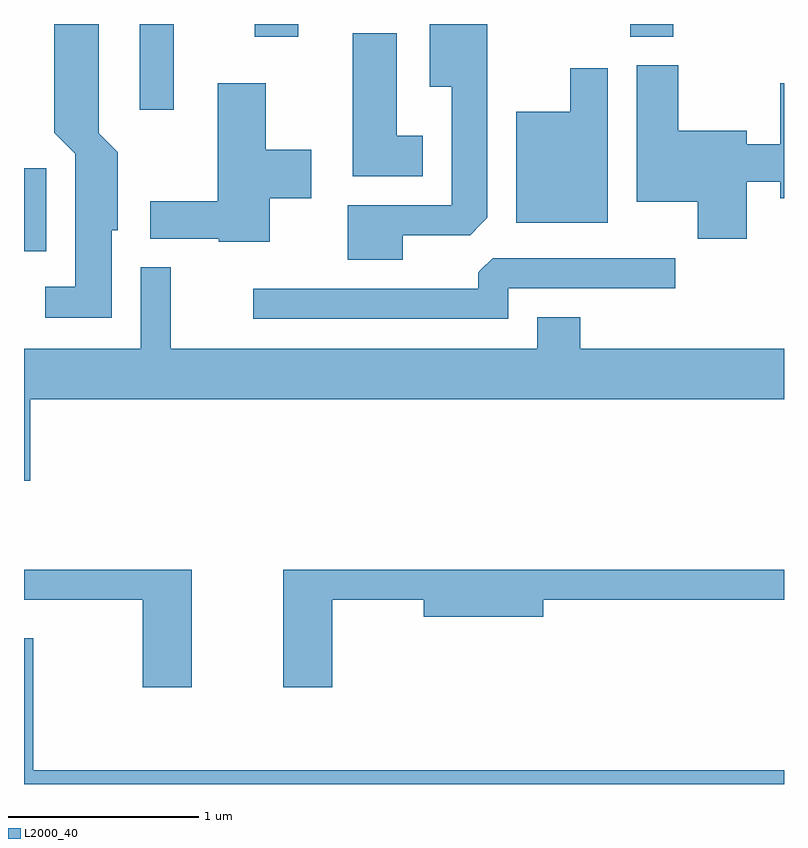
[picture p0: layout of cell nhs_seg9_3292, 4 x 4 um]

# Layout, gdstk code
import gdstk
lib = gdstk.Library(unit=1e-6, precision=1e-09)
def R(c, l, rs):  # rectangles x0, y0, x1, y1
    for r in rs: c.add(gdstk.rectangle(r[:2], r[2:], *l))
def P(c, l, *ps):  # polygons
    for p in ps: c.add(gdstk.Polygon(p, *l))
L2000_40 = (2000, 40)

nhs_seg9_3292 = lib.new_cell('nhs_seg9_3292')
R(nhs_seg9_3292, L2000_40, [(281.611,2019.236,281.729,2019.673), (282.221,2019.981,282.399,2020.432), (282.826,2020.366,283.054,2020.432), (284.801,2020.366,285.029,2020.432)])
P(nhs_seg9_3292, L2000_40, [(283.604,2019.321),(283.959,2019.321),(284.013,2019.375),(284.049,2019.412),(284.049,2020.432),(283.746,2020.432),(283.746,2020.101),(283.861,2020.101),(283.861,2019.479),(283.316,2019.479),(283.316,2019.191),(283.604,2019.191)],
  [(282.074,2019.346),(282.104,2019.346),(282.104,2019.757),(282.004,2019.857),(282.004,2020.432),(281.771,2020.432),(281.771,2019.859),(281.881,2019.749),(281.881,2019.049),(281.723,2019.049),(281.723,2018.886),(282.074,2018.886)],
  [(283.709,2019.844),(283.574,2019.844),(283.574,2020.384),(283.341,2020.384),(283.341,2019.631),(283.709,2019.631)],
  [(285.414,2019.601),(285.591,2019.601),(285.591,2019.516),(285.611,2019.516),(285.611,2020.119),(285.591,2020.119),(285.591,2019.799),(285.414,2019.799),(285.414,2019.869),(285.054,2019.869),(285.054,2020.214),(284.836,2020.214),(284.836,2019.496),(285.156,2019.496),(285.156,2019.301),(285.414,2019.301)],
  [(284.684,2020.199),(284.486,2020.199),(284.486,2019.969),(284.201,2019.969),(284.201,2019.386),(284.684,2019.386)],
  [(282.904,2019.516),(283.124,2019.516),(283.124,2019.769),(282.884,2019.769),(282.884,2020.119),(282.631,2020.119),(282.631,2019.499),(282.276,2019.499),(282.276,2019.301),(282.635,2019.301),(282.635,2019.286),(282.904,2019.286)],
  [(284.159,2019.041),(285.038,2019.041),(285.038,2019.199),(284.077,2019.199),(284.013,2019.135),(284.001,2019.124),(284.001,2019.039),(282.818,2019.039),(282.818,2018.881),(284.159,2018.881)],
  [(281.644,2018.456),(285.611,2018.456),(285.611,2018.724),(284.539,2018.724),(284.539,2018.889),(284.311,2018.889),(284.311,2018.724),(282.384,2018.724),(282.384,2019.153),(282.226,2019.153),(282.226,2018.724),(281.611,2018.724),(281.611,2018.028),(281.644,2018.028)],
  [(282.494,2017.559),(281.611,2017.559),(281.611,2017.401),(282.236,2017.401),(282.236,2016.941),(282.494,2016.941)],
  [(283.234,2017.401),(283.716,2017.401),(283.716,2017.311),(284.344,2017.311),(284.344,2017.401),(285.611,2017.401),(285.611,2017.559),(282.976,2017.559),(282.976,2016.941),(283.234,2016.941)],
  [(285.611,2016.504),(281.659,2016.504),(281.659,2017.199),(281.611,2017.199),(281.611,2016.432),(285.611,2016.432)])

lib.write_gds('nhs_seg9_3292.gds')
